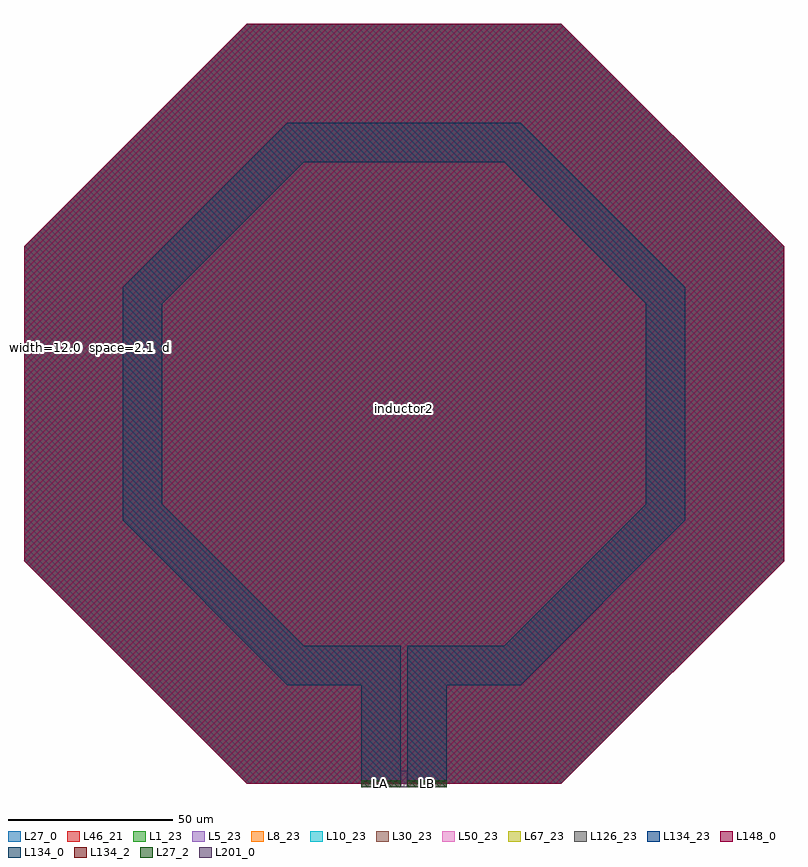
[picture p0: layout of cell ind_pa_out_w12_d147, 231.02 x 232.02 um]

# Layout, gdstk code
import gdstk
lib = gdstk.Library(unit=1e-6, precision=1e-09)
def R(c, l, rs):  # rectangles x0, y0, x1, y1
    for r in rs: c.add(gdstk.rectangle(r[:2], r[2:], *l))
def P(c, l, *ps):  # polygons
    for p in ps: c.add(gdstk.Polygon(p, *l))
L1_23 = (1, 23)
L5_23 = (5, 23)
L8_23 = (8, 23)
L10_23 = (10, 23)
L27_0 = (27, 0)
L27_2 = (27, 2)
L30_23 = (30, 23)
L46_21 = (46, 21)
L50_23 = (50, 23)
L67_23 = (67, 23)
L126_23 = (126, 23)
L134_0 = (134, 0)
L134_2 = (134, 2)
L134_23 = (134, 23)
L148_0 = (148, 0)
L201_0 = (201, 0)

ind_pa_out_w12_d147 = lib.new_cell('ind_pa_out_w12_d147')
P(ind_pa_out_w12_d147, L1_23, [(-47.845,0),(-115.51,67.665),(-115.51,163.355),(-47.845,231.02),(47.845,231.02),(115.51,163.355),(115.51,67.665),(47.845,0)])
P(ind_pa_out_w12_d147, L5_23, [(-47.845,0),(-115.51,67.665),(-115.51,163.355),(-47.845,231.02),(47.845,231.02),(115.51,163.355),(115.51,67.665),(47.845,0)])
P(ind_pa_out_w12_d147, L8_23, [(-47.845,0),(-115.51,67.665),(-115.51,163.355),(-47.845,231.02),(47.845,231.02),(115.51,163.355),(115.51,67.665),(47.845,0)])
P(ind_pa_out_w12_d147, L10_23, [(-47.845,0),(-115.51,67.665),(-115.51,163.355),(-47.845,231.02),(47.845,231.02),(115.51,163.355),(115.51,67.665),(47.845,0)])
P(ind_pa_out_w12_d147, L27_0, [(-47.845,0),(-115.51,67.665),(-115.51,163.355),(-47.845,231.02),(47.845,231.02),(115.51,163.355),(115.51,67.665),(47.845,0)])
R(ind_pa_out_w12_d147, L27_2, [(-13.05,-1,-1.05,1), (1.05,-1,13.05,1)])
P(ind_pa_out_w12_d147, L30_23, [(-47.845,0),(-115.51,67.665),(-115.51,163.355),(-47.845,231.02),(47.845,231.02),(115.51,163.355),(115.51,67.665),(47.845,0)])
P(ind_pa_out_w12_d147, L46_21, [(-47.845,0),(-115.51,67.665),(-115.51,163.355),(-47.845,231.02),(47.845,231.02),(115.51,163.355),(115.51,67.665),(47.845,0)])
P(ind_pa_out_w12_d147, L50_23, [(-47.845,0),(-115.51,67.665),(-115.51,163.355),(-47.845,231.02),(47.845,231.02),(115.51,163.355),(115.51,67.665),(47.845,0)])
P(ind_pa_out_w12_d147, L67_23, [(-47.845,0),(-115.51,67.665),(-115.51,163.355),(-47.845,231.02),(47.845,231.02),(115.51,163.355),(115.51,67.665),(47.845,0)])
P(ind_pa_out_w12_d147, L126_23, [(-47.845,0),(-115.51,67.665),(-115.51,163.355),(-47.845,231.02),(47.845,231.02),(115.51,163.355),(115.51,67.665),(47.845,0)])
R(ind_pa_out_w12_d147, L134_0, [(-10.425,189,10.425,201)])
P(ind_pa_out_w12_d147, L134_0, [(1.05,30),(1.05,42),(30.44,42),(73.5,85.06),(73.5,145.94),(30.44,189),(10.425,189),(10.425,201),(35.42,201),(85.5,150.92),(85.5,80.08),(35.42,30)],
  [(-35.42,30),(-85.5,80.08),(-85.5,150.92),(-35.42,201),(-10.425,201),(-10.425,189),(-30.44,189),(-73.5,145.94),(-73.5,85.06),(-30.44,42),(-1.05,42),(-1.05,30)])
R(ind_pa_out_w12_d147, L134_2, [(-13.05,-1,-1.05,1), (-13.05,-1,-1.05,1), (1.05,-1,13.05,1), (1.05,-1,13.05,1)])
P(ind_pa_out_w12_d147, L134_23, [(-47.845,0),(-115.51,67.665),(-115.51,163.355),(-47.845,231.02),(47.845,231.02),(115.51,163.355),(115.51,67.665),(47.845,0)])
P(ind_pa_out_w12_d147, L148_0, [(-47.845,0),(-115.51,67.665),(-115.51,163.355),(-47.845,231.02),(47.845,231.02),(115.51,163.355),(115.51,67.665),(47.845,0)])
R(ind_pa_out_w12_d147, L201_0, [(-1.05,-1,1.05,4)])
ind_pa_out_w12_d147.add(gdstk.FlexPath([(7.05,-1),(7.05,42)], 12, ends="flush", simple_path=True, layer=134, datatype=0))  # L134_0
ind_pa_out_w12_d147.add(gdstk.FlexPath([(-7.05,-1),(-7.05,42)], 12, ends="flush", simple_path=True, layer=134, datatype=0))  # L134_0
ind_pa_out_w12_d147.add(gdstk.Label('LB', (7.05,0), layer=27, texttype=25))
ind_pa_out_w12_d147.add(gdstk.Label('LA', (-7.05,0), layer=27, texttype=25))
ind_pa_out_w12_d147.add(gdstk.Label('inductor2', (0,114.133), layer=63, texttype=0))
ind_pa_out_w12_d147.add(gdstk.Label('  width=12.0\n  space=2.1\n  diameter=147.00\n  turns=1', (-115.51,132.517), layer=63, texttype=0))

lib.write_gds('ind_pa_out_w12_d147.gds')
